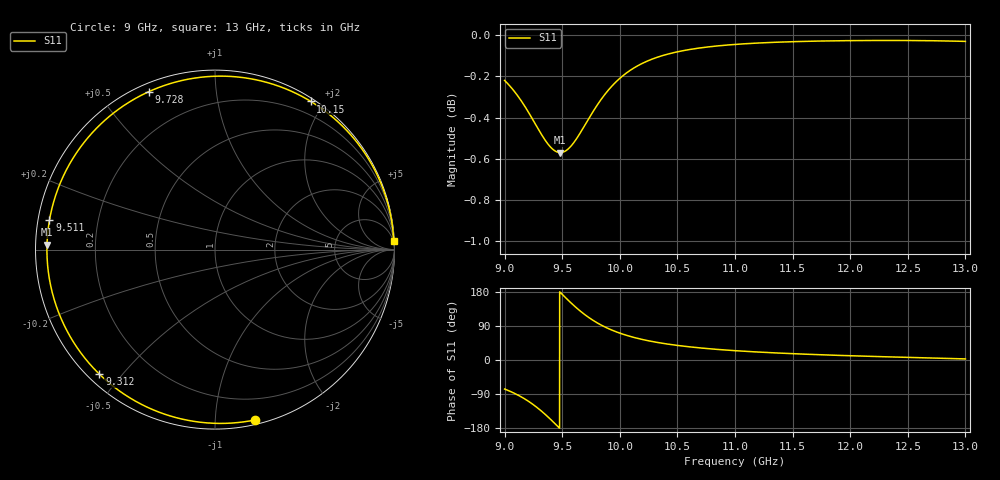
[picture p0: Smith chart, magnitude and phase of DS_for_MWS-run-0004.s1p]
! TOUCHSTONE file generated by CST DESIGN STUDIO
! Date and time: Tue Feb  4 15:49:49 2025
! Project name: C:\Work\MatlabApps\UnitCellOptimizationMatlab\CST\unitcell.cst
! Tree item: Tasks\Sweep1\SPara1\S-Parameters
! Header version: 2024
! Port assignment regex: !\s*Touchstone port\s*([0-9]+)\s*=\s*(CST MWS port|CST DES external port|CST DES block port)\s*(.+)\s* \(\"(.*)\"\)(\s*mode\s*([0-9]+))?.*
! Touchstone port assignment:
! Touchstone port 1 = CST DES external port 1 ("")
# GHz S MA R 50
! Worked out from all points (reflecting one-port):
!   4001 points, 9 GHz to 13 GHz, reference 50 ohm
!   lowest |S11| = -0.6 dB at 9.483 GHz (marker M1), VSWR 30.48, Z = 1.64 + j0.744 ohm
!   phase of S11 starts at -77 deg and turns -281 deg over the sweep
!   S11 on the Smith chart (normalised r, x): 9 GHz: 0.03, -1.27; 9.312 GHz: 0.03, -0.44; 9.511 GHz: 0.03, +0.09; 9.728 GHz: 0.03, +0.67; 10.15 GHz: 0.04, +1.84; 13 GHz: 3, +40
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9  0.9751 -76.6
9.079  0.9695 -87.0
9.178  0.9608 -103.3
9.247  0.9537 -117.4
9.312  0.9468 -132.8
9.357  0.9425 -144.8
9.405  0.939 -158.4
9.445  0.9371 -170.2
9.483  0.9365 178.3
9.5  0.9366 173.2
9.511  0.9368 169.8
9.563  0.939 154.5
9.623  0.9436 137.8
9.675  0.9487 124.7
9.728  0.9542 112.7
9.782  0.9596 102.0
9.843  0.9652 91.4
9.92  0.9712 80.3
10  0.9762 70.9
10.154  0.9831 57.1
10.311  0.9875 47.1
10.5  0.9908 38.5
10.722  0.9932 31.2
11  0.9949 24.6
11.5  0.9964 16.7
12  0.997 11.2
12.5  0.9971 6.9
13  0.9966 2.9
